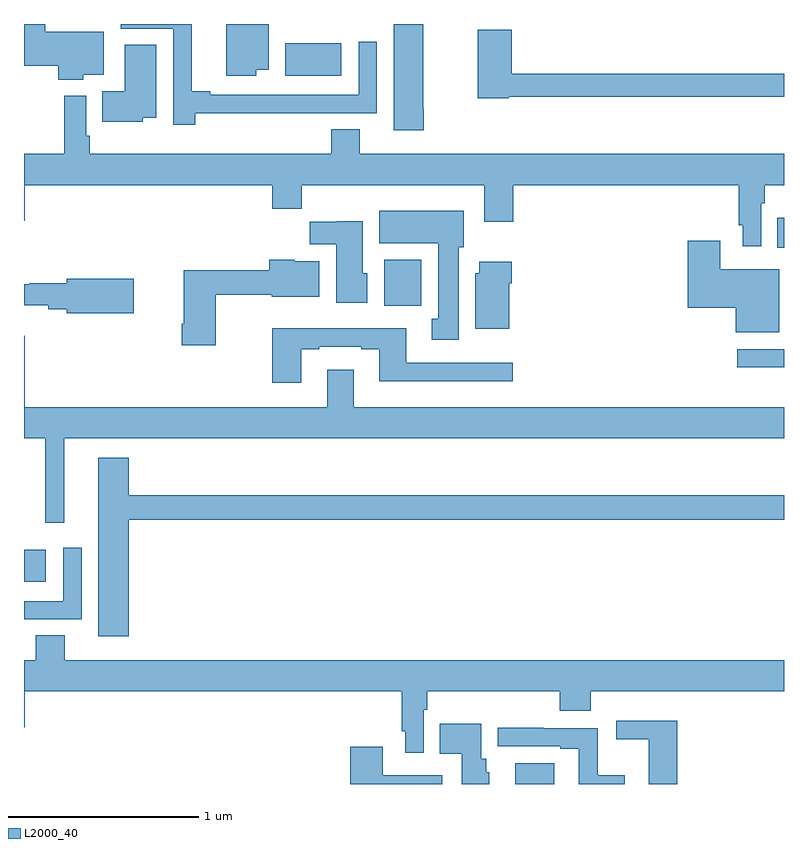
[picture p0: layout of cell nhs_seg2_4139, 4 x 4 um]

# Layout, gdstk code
import gdstk
lib = gdstk.Library(unit=1e-6, precision=1e-09)
def R(c, l, rs):  # rectangles x0, y0, x1, y1
    for r in rs: c.add(gdstk.rectangle(r[:2], r[2:], *l))
def P(c, l, *ps):  # polygons
    for p in ps: c.add(gdstk.Polygon(p, *l))
L2000_40 = (2000, 40)

nhs_seg2_4139 = lib.new_cell('nhs_seg2_4139')
R(nhs_seg2_4139, L2000_40, [(335.585,661.8,335.791,661.909), (333,662.864,333.115,663.034), (336.753,663.993,337,664.089), (334.895,664.316,335.092,664.558), (336.964,664.622,337,664.78), (334.376,665.528,334.669,665.698)])
P(nhs_seg2_4139, L2000_40, [(334.222,665.558),(334.288,665.558),(334.288,665.8),(334.064,665.8),(334.064,665.528),(334.222,665.528)],
  [(333.312,665.534),(333.421,665.534),(333.421,665.758),(333.112,665.758),(333.112,665.8),(333,665.8),(333,665.579),(333.179,665.579),(333.179,665.507),(333.312,665.507)],
  [(333.902,665.33),(334.532,665.33),(334.532,665.331),(334.857,665.331),(334.857,665.707),(334.761,665.707),(334.761,665.427),(333.979,665.427),(333.979,665.447),(333.884,665.447),(333.884,665.8),(333.509,665.8),(333.509,665.775),(333.786,665.775),(333.786,665.271),(333.902,665.271)],
  [(335.105,665.353),(335.1,665.353),(335.1,665.8),(334.946,665.8),(334.946,665.241),(335.105,665.241)],
  [(335.55,665.418),(337,665.418),(337,665.539),(335.567,665.539),(335.567,665.77),(335.389,665.77),(335.389,665.41),(335.55,665.41)],
  [(333.624,665.306),(333.697,665.306),(333.697,665.69),(333.53,665.69),(333.53,665.446),(333.412,665.446),(333.412,665.285),(333.624,665.285)],
  [(336.879,664.856),(336.899,664.856),(336.899,664.952),(337,664.952),(337,665.116),(334.768,665.116),(334.768,665.246),(334.616,665.246),(334.616,665.116),(333.347,665.116),(333.347,665.212),(333.327,665.212),(333.327,665.422),(333.211,665.422),(333.211,665.116),(333,665.116),(333,664.764),(333.004,664.764),(333.004,664.952),(334.307,664.952),(334.307,664.828),(334.463,664.828),(334.463,664.952),(335.423,664.952),(335.423,664.758),(335.576,664.758),(335.576,664.952),(336.763,664.952),(336.763,664.741),(336.783,664.741),(336.783,664.629),(336.879,664.629)],
  [(335.287,664.626),(335.314,664.626),(335.314,664.816),(334.871,664.816),(334.871,664.646),(335.18,664.646),(335.18,664.25),(335.147,664.25),(335.147,664.137),(335.287,664.137)],
  [(334.807,664.488),(334.783,664.488),(334.783,664.762),(334.647,664.762),(334.647,664.758),(334.504,664.758),(334.504,664.64),(334.643,664.64),(334.643,664.334),(334.807,664.334)],
  [(336.976,664.51),(336.664,664.51),(336.664,664.66),(336.494,664.66),(336.494,664.307),(336.746,664.307),(336.746,664.178),(336.976,664.178)],
  [(334.008,664.375),(334.304,664.375),(334.304,664.364),(334.555,664.364),(334.555,664.552),(334.422,664.552),(334.422,664.558),(334.292,664.558),(334.292,664.504),(333.842,664.504),(333.842,664.222),(333.83,664.222),(333.83,664.11),(334.008,664.11)],
  [(335.554,664.436),(335.567,664.436),(335.567,664.549),(335.396,664.549),(335.396,664.488),(335.375,664.488),(335.375,664.196),(335.554,664.196)],
  [(333.577,664.46),(333.224,664.46),(333.224,664.436),(333.028,664.436),(333.028,664.429),(333,664.429),(333,664.319),(333.128,664.319),(333.128,664.3),(333.224,664.3),(333.224,664.277),(333.577,664.277)],
  [(334.459,664.089),(334.555,664.089),(334.555,664.101),(334.775,664.101),(334.775,664.089),(334.871,664.089),(334.871,663.92),(335.572,663.92),(335.572,664.017),(335.011,664.017),(335.011,664.198),(334.307,664.198),(334.307,663.912),(334.459,663.912)],
  [(333.212,663.62),(337,663.62),(337,663.784),(334.735,663.784),(334.735,663.979),(334.595,663.979),(334.595,663.784),(333.004,663.784),(333.004,664.159),(333,664.159),(333,663.62),(333.113,663.62),(333.113,663.174),(333.212,663.174)],
  [(333.551,663.19),(337,663.19),(337,663.319),(333.551,663.319),(333.551,663.517),(333.392,663.517),(333.392,662.577),(333.551,662.577)],
  [(333.303,663.043),(333.207,663.043),(333.207,662.763),(333,662.763),(333,662.667),(333.303,662.667)],
  [(335.103,662.192),(335.123,662.192),(335.123,662.288),(335.819,662.288),(335.819,662.186),(335.984,662.186),(335.984,662.288),(337,662.288),(337,662.452),(333.214,662.452),(333.214,662.582),(333.062,662.582),(333.062,662.452),(333,662.452),(333,662.1),(333.004,662.1),(333.004,662.288),(334.987,662.288),(334.987,662.077),(335.007,662.077),(335.007,661.965),(335.103,661.965)],
  [(336.437,662.134),(336.117,662.134),(336.117,662.036),(336.287,662.036),(336.287,661.8),(336.437,661.8)],
  [(335.449,661.863),(335.434,661.863),(335.434,661.932),(335.407,661.932),(335.407,662.116),(335.188,662.116),(335.188,661.958),(335.303,661.958),(335.303,661.8),(335.449,661.8)],
  [(336.163,661.846),(336.02,661.846),(336.02,662.094),(335.735,662.094),(335.735,662.096),(335.493,662.096),(335.493,661.998),(335.822,661.998),(335.822,661.986),(335.919,661.986),(335.919,661.8),(336.163,661.8)],
  [(335.2,661.846),(334.888,661.846),(334.888,661.996),(334.718,661.996),(334.718,661.8),(335.2,661.8)])

lib.write_gds('nhs_seg2_4139.gds')
